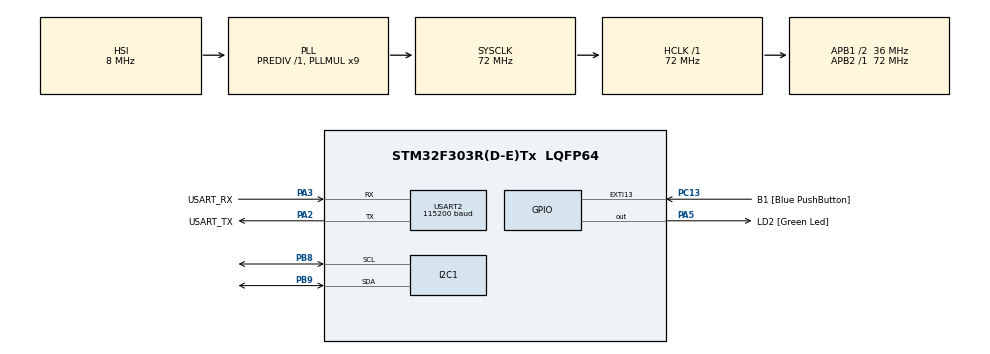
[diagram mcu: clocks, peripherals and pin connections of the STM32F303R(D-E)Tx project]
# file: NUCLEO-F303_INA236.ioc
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I2C1.Timing=0x00201D2B
Mcu.Family=STM32F3
Mcu.Name=STM32F303R(D-E)Tx
Mcu.Package=LQFP64
NVIC.PriorityGroup=NVIC_PRIORITYGROUP_0
PA13.GPIO_Label=TMS
PA13.Mode=Serial_Wire
PA13.Signal=SYS_JTMS-SWDIO
PA14.GPIO_Label=TCK
PA14.Mode=Serial_Wire
PA14.Signal=SYS_JTCK-SWCLK
PA2.GPIO_Label=USART_TX
PA2.GPIO_Mode=GPIO_MODE_AF_PP
PA2.GPIO_PuPd=GPIO_NOPULL
PA2.GPIO_Speed=GPIO_SPEED_FREQ_LOW
PA2.Mode=Asynchronous
PA2.Signal=USART2_TX
PA3.GPIO_Label=USART_RX
PA3.GPIO_Mode=GPIO_MODE_AF_PP
PA3.GPIO_PuPd=GPIO_NOPULL
PA3.GPIO_Speed=GPIO_SPEED_FREQ_LOW
PA3.Mode=Asynchronous
PA3.Signal=USART2_RX
PA5.GPIO_Label=LD2 [Green Led]
PA5.GPIO_Mode=GPIO_MODE_OUTPUT_PP
PA5.GPIO_PuPd=GPIO_NOPULL
PA5.GPIO_Speed=GPIO_SPEED_FREQ_LOW
PA5.Signal=GPIO_Output
PB3.GPIO_Label=SWO
PB3.Signal=SYS_JTDO-TRACESWO
PB8.Mode=I2C
PB8.Signal=I2C1_SCL
PB9.Mode=I2C
PB9.Signal=I2C1_SDA
PC13.GPIO_Label=B1 [Blue PushButton]
PC13.GPIO_ModeDefaultEXTI=GPIO_MODE_IT_FALLING
PC13.Signal=GPXTI13
PC14-OSC32_IN.Mode=LSE-External-Oscillator
PC14-OSC32_IN.Signal=RCC_OSC32_IN
PC15-OSC32_OUT.Mode=LSE-External-Oscillator
PC15-OSC32_OUT.Signal=RCC_OSC32_OUT
PF0-OSC_IN.Mode=HSE-External-Clock-Source
PF0-OSC_IN.Signal=RCC_OSC_IN
PF1-OSC_OUT.Signal=RCC_OSC_OUT
ProjectManager.HeapSize=0x200
ProjectManager.StackSize=0x400
ProjectManager.TargetToolchain=CMake
RCC.AHBFreq_Value=72000000
RCC.APB1CLKDivider=RCC_HCLK_DIV2
RCC.APB1Freq_Value=36000000
RCC.APB1TimFreq_Value=72000000
RCC.APB2Freq_Value=72000000
RCC.APB2TimFreq_Value=72000000
RCC.CortexFreq_Value=72000000
RCC.HCLKFreq_Value=72000000
RCC.HSE_VALUE=8000000
RCC.HSI_VALUE=8000000
RCC.PLLM=8
RCC.PLLMUL=RCC_PLL_MUL9
RCC.PLLN=336
RCC.PLLP=RCC_PLLP_DIV4
RCC.PLLQ=7
RCC.RCC_PLLsource_Clock_Source_FROM_HSE=RCC_HSE_PREDIV_DIV2
RCC.SYSCLKFreq_VALUE=72000000
RCC.SYSCLKSourceVirtual=RCC_SYSCLKSOURCE_PLLCLK
RCC.USBFreq_Value=72000000
USART2.BaudRate=115200
USART2.VirtualMode-Asynchronous=VM_ASYNC
board=NUCLEO-F303RE

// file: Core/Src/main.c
/* USER CODE BEGIN Header */
/**
  ******************************************************************************
  * @file           : main.c
  * @brief          : Main program body
  ******************************************************************************
  * @attention
  *
  * Copyright (c) 2026 STMicroelectronics.
  * All rights reserved.
  *
  * This software is licensed under terms that can be found in the LICENSE file
  * in the root directory of this software component.
  * If no LICENSE file comes with this software, it is provided AS-IS.
  *
  ******************************************************************************
  */
/* USER CODE END Header */
#include "main.h"

/* USER CODE BEGIN Includes */
#include <INA236.h>
#include <stdio.h>
#include <string.h>
/* USER CODE END Includes */

/* USER CODE BEGIN PTD */
INA236_HandleTypeDef ina236;
/* USER CODE END PTD */

I2C_HandleTypeDef hi2c1;

UART_HandleTypeDef huart2;

/* USER CODE BEGIN PV */
char msg[64];

double shuntVoltage   = 0.0;
double busVoltage     = 0.0;
double current        = 0.0;
double power          = 0.0;

double maxCurrent     = 8;
double shuntResistor  = 0.01;

_Bool isDataReady     = 0;
/* USER CODE END PV */

void SystemClock_Config(void);
static void MX_GPIO_Init(void);
static void MX_I2C1_Init(void);
static void MX_USART2_UART_Init(void);

int main(void)
{

  /* MCU Configuration--------------------------------------------------------*/

  /* Reset of all peripherals, Initializes the Flash interface and the Systick. */
  HAL_Init();

  /* Configure the system clock */
  SystemClock_Config();

  /* Initialize all configured peripherals */
  MX_GPIO_Init();
  MX_I2C1_Init();
  MX_USART2_UART_Init();
  /* USER CODE BEGIN 2 */
  INA236_Init(&ina236, &hi2c1, INA236_DEFAULT_ADDRESS);
  INA236_SetAverage(&ina236, INA236_512_SAMPLES);
  INA236_SetCalibration(&ina236, shuntResistor, maxCurrent);
  /* USER CODE END 2 */

  /* Infinite loop */
  /* USER CODE BEGIN WHILE */
  while (1)
  {
    isDataReady = INA236_IsConversionReady(&ina236);

    if (isDataReady)
    {
      shuntVoltage = INA236_GetShuntVoltage_mV(&ina236);
      busVoltage   = INA236_GetBusVoltage(&ina236);
      current      = INA236_GetCurrent_A(&ina236);
      power        = INA236_GetPower_W(&ina236);

      snprintf(msg, sizeof(msg), "Shunt Voltage = %.2f mV\r\n", shuntVoltage);
      HAL_UART_Transmit(&huart2, (uint8_t *)msg, strlen(msg), HAL_MAX_DELAY);

      snprintf(msg, sizeof(msg), "Bus Voltage = %.2f V\r\n", busVoltage);
      HAL_UART_Transmit(&huart2, (uint8_t *)msg, strlen(msg), HAL_MAX_DELAY);

      snprintf(msg, sizeof(msg), "Current = %.3f A\r\n", current);
      HAL_UART_Transmit(&huart2, (uint8_t *)msg, strlen(msg), HAL_MAX_DELAY);

      snprintf(msg, sizeof(msg), "Power = %.3f W\r\n", power);
      HAL_UART_Transmit(&huart2, (uint8_t *)msg, strlen(msg), HAL_MAX_DELAY);

      snprintf(msg, sizeof(msg), "\r\n");
      HAL_UART_Transmit(&huart2, (uint8_t *)msg, strlen(msg), HAL_MAX_DELAY);
    }
    /* USER CODE END WHILE */

  }
}

void SystemClock_Config(void)
{
  RCC_OscInitTypeDef RCC_OscInitStruct = {0};
  RCC_ClkInitTypeDef RCC_ClkInitStruct = {0};
  RCC_PeriphCLKInitTypeDef PeriphClkInit = {0};

  /** Initializes the RCC Oscillators according to the specified parameters
  * in the RCC_OscInitTypeDef structure.
  */
  RCC_OscInitStruct.OscillatorType = RCC_OSCILLATORTYPE_HSI;
  RCC_OscInitStruct.HSIState = RCC_HSI_ON;
  RCC_OscInitStruct.HSICalibrationValue = RCC_HSICALIBRATION_DEFAULT;
  RCC_OscInitStruct.PLL.PLLState = RCC_PLL_ON;
  RCC_OscInitStruct.PLL.PLLSource = RCC_PLLSOURCE_HSI;
  RCC_OscInitStruct.PLL.PLLMUL = RCC_PLL_MUL9;
  RCC_OscInitStruct.PLL.PREDIV = RCC_PREDIV_DIV1;
  if (HAL_RCC_OscConfig(&RCC_OscInitStruct) != HAL_OK)
  {
    Error_Handler();
  }

  /** Initializes the CPU, AHB and APB buses clocks
  */
  RCC_ClkInitStruct.ClockType = RCC_CLOCKTYPE_HCLK|RCC_CLOCKTYPE_SYSCLK
                              |RCC_CLOCKTYPE_PCLK1|RCC_CLOCKTYPE_PCLK2;
  RCC_ClkInitStruct.SYSCLKSource = RCC_SYSCLKSOURCE_PLLCLK;
  RCC_ClkInitStruct.AHBCLKDivider = RCC_SYSCLK_DIV1;
  RCC_ClkInitStruct.APB1CLKDivider = RCC_HCLK_DIV2;
  RCC_ClkInitStruct.APB2CLKDivider = RCC_HCLK_DIV1;

  if (HAL_RCC_ClockConfig(&RCC_ClkInitStruct, FLASH_LATENCY_2) != HAL_OK)
  {
    Error_Handler();
  }
  PeriphClkInit.PeriphClockSelection = RCC_PERIPHCLK_USART2|RCC_PERIPHCLK_I2C1;
  PeriphClkInit.Usart2ClockSelection = RCC_USART2CLKSOURCE_PCLK1;
  PeriphClkInit.I2c1ClockSelection = RCC_I2C1CLKSOURCE_HSI;
  if (HAL_RCCEx_PeriphCLKConfig(&PeriphClkInit) != HAL_OK)
  {
    Error_Handler();
  }
}

static void MX_I2C1_Init(void)
{

  hi2c1.Instance = I2C1;
  hi2c1.Init.Timing = 0x00201D2B;
  hi2c1.Init.OwnAddress1 = 0;
  hi2c1.Init.AddressingMode = I2C_ADDRESSINGMODE_7BIT;
  hi2c1.Init.DualAddressMode = I2C_DUALADDRESS_DISABLE;
  hi2c1.Init.OwnAddress2 = 0;
  hi2c1.Init.OwnAddress2Masks = I2C_OA2_NOMASK;
  hi2c1.Init.GeneralCallMode = I2C_GENERALCALL_DISABLE;
  hi2c1.Init.NoStretchMode = I2C_NOSTRETCH_DISABLE;
  if (HAL_I2C_Init(&hi2c1) != HAL_OK)
  {
    Error_Handler();
  }

  /** Configure Analogue filter
  */
  if (HAL_I2CEx_ConfigAnalogFilter(&hi2c1, I2C_ANALOGFILTER_ENABLE) != HAL_OK)
  {
    Error_Handler();
  }

  /** Configure Digital filter
  */
  if (HAL_I2CEx_ConfigDigitalFilter(&hi2c1, 0) != HAL_OK)
  {
    Error_Handler();
  }

}

static void MX_USART2_UART_Init(void)
{

  huart2.Instance = USART2;
  huart2.Init.BaudRate = 115200;
  huart2.Init.WordLength = UART_WORDLENGTH_8B;
  huart2.Init.StopBits = UART_STOPBITS_1;
  huart2.Init.Parity = UART_PARITY_NONE;
  huart2.Init.Mode = UART_MODE_TX_RX;
  huart2.Init.HwFlowCtl = UART_HWCONTROL_NONE;
  huart2.Init.OverSampling = UART_OVERSAMPLING_16;
  huart2.Init.OneBitSampling = UART_ONE_BIT_SAMPLE_DISABLE;
  huart2.AdvancedInit.AdvFeatureInit = UART_ADVFEATURE_NO_INIT;
  if (HAL_UART_Init(&huart2) != HAL_OK)
  {
    Error_Handler();
  }

}

static void MX_GPIO_Init(void)
{
  GPIO_InitTypeDef GPIO_InitStruct = {0};

  /* GPIO Ports Clock Enable */
  __HAL_RCC_GPIOC_CLK_ENABLE();
  __HAL_RCC_GPIOF_CLK_ENABLE();
  __HAL_RCC_GPIOA_CLK_ENABLE();
  __HAL_RCC_GPIOB_CLK_ENABLE();

  /*Configure GPIO pin Output Level */
  HAL_GPIO_WritePin(LD2_GPIO_Port, LD2_Pin, GPIO_PIN_RESET);

  /*Configure GPIO pin : B1_Pin */
  GPIO_InitStruct.Pin = B1_Pin;
  GPIO_InitStruct.Mode = GPIO_MODE_IT_FALLING;
  GPIO_InitStruct.Pull = GPIO_NOPULL;
  HAL_GPIO_Init(B1_GPIO_Port, &GPIO_InitStruct);

  /*Configure GPIO pin : LD2_Pin */
  GPIO_InitStruct.Pin = LD2_Pin;
  GPIO_InitStruct.Mode = GPIO_MODE_OUTPUT_PP;
  GPIO_InitStruct.Pull = GPIO_NOPULL;
  GPIO_InitStruct.Speed = GPIO_SPEED_FREQ_LOW;
  HAL_GPIO_Init(LD2_GPIO_Port, &GPIO_InitStruct);

}

void Error_Handler(void)
{
  __disable_irq();
  while (1)
  {
  }
}
